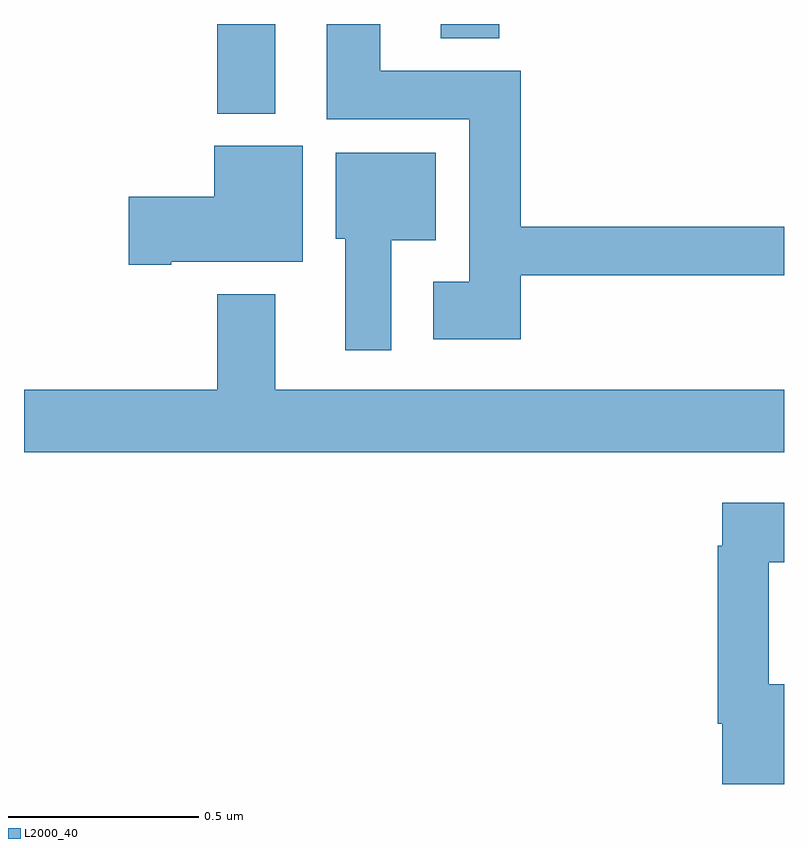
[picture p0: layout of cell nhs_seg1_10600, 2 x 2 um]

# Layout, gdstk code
import gdstk
lib = gdstk.Library(unit=1e-6, precision=1e-09)
def R(c, l, rs):  # rectangles x0, y0, x1, y1
    for r in rs: c.add(gdstk.rectangle(r[:2], r[2:], *l))
def P(c, l, *ps):  # polygons
    for p in ps: c.add(gdstk.Polygon(p, *l))
L2000_40 = (2000, 40)

nhs_seg1_10600 = lib.new_cell('nhs_seg1_10600')
R(nhs_seg1_10600, L2000_40, [(243.509,545.963,243.661,546.199), (244.097,546.161,244.25,546.199)])
P(nhs_seg1_10600, L2000_40, [(244.307,545.538),(245,545.538),(245,545.666),(244.307,545.666),(244.307,546.076),(243.937,546.076),(243.937,546.199),(243.797,546.199),(243.797,545.948),(244.172,545.948),(244.172,545.521),(244.077,545.521),(244.077,545.369),(244.307,545.369)],
  [(243.388,545.573),(243.733,545.573),(243.733,545.878),(243.5,545.878),(243.5,545.744),(243.276,545.744),(243.276,545.566),(243.388,545.566)],
  [(243.967,545.63),(244.084,545.63),(244.084,545.86),(243.821,545.86),(243.821,545.634),(243.845,545.634),(243.845,545.34),(243.967,545.34)],
  [(245,545.236),(243.661,545.236),(243.661,545.488),(243.509,545.488),(243.509,545.236),(243,545.236),(243,545.072),(245,545.072)],
  [(245,544.462),(244.96,544.462),(244.96,544.783),(245,544.783),(245,544.939),(244.838,544.939),(244.838,544.826),(244.826,544.826),(244.826,544.358),(244.838,544.358),(244.838,544.199),(245,544.199)])

lib.write_gds('nhs_seg1_10600.gds')
